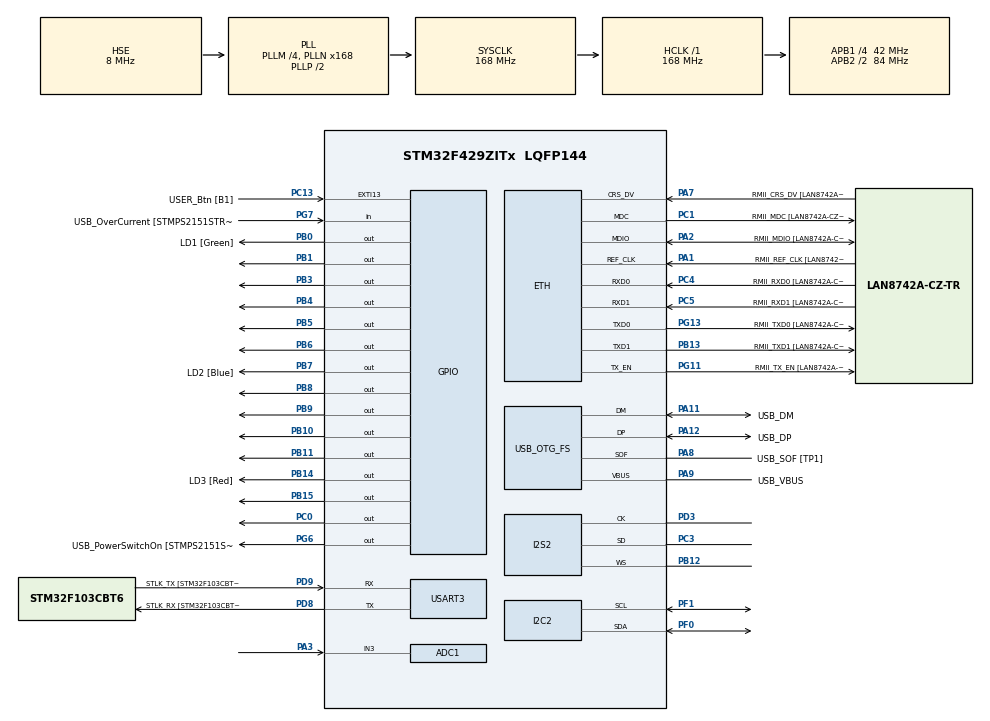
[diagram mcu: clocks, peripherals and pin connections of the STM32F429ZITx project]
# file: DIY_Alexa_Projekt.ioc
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ADC1.Channel-1\#ChannelRegularConversion=ADC_CHANNEL_3
ADC1.NbrOfConversionFlag=1
ADC1.Rank-1\#ChannelRegularConversion=1
ADC1.SamplingTime-1\#ChannelRegularConversion=ADC_SAMPLETIME_3CYCLES
ADC1.master=1
Dma.Request0=SPI2_RX
Dma.SPI2_RX.0.Direction=DMA_PERIPH_TO_MEMORY
Dma.SPI2_RX.0.FIFOMode=DMA_FIFOMODE_DISABLE
Dma.SPI2_RX.0.Instance=DMA1_Stream3
Dma.SPI2_RX.0.MemDataAlignment=DMA_MDATAALIGN_HALFWORD
Dma.SPI2_RX.0.MemInc=DMA_MINC_ENABLE
Dma.SPI2_RX.0.Mode=DMA_CIRCULAR
Dma.SPI2_RX.0.PeriphDataAlignment=DMA_PDATAALIGN_HALFWORD
Dma.SPI2_RX.0.PeriphInc=DMA_PINC_DISABLE
Dma.SPI2_RX.0.Priority=DMA_PRIORITY_HIGH
ETH.MediaInterface=HAL_ETH_RMII_MODE
ETH.PHY_Name=LAN8742A_PHY_ADDRESS
ETH.PHY_Value=0
ETH.PhyAddress=0
I2S2.AudioFreq=I2S_AUDIOFREQ_16K
I2S2.DataFormat=I2S_DATAFORMAT_24B
I2S2.ErrorAudioFreq=-0.26 %
I2S2.FullDuplexMode=I2S_FULLDUPLEXMODE_DISABLE
I2S2.Instance=SPI$Index
I2S2.Mode=I2S_MODE_MASTER_RX
I2S2.RealAudioFreq=15.957 KHz
I2S2.VirtualMode=I2S_MODE_MASTER
Mcu.Family=STM32F4
Mcu.Name=STM32F429ZITx
Mcu.Package=LQFP144
NVIC.DMA1_Stream3_IRQn=true\:0\:0\:false\:false\:true\:false\:true\:true
NVIC.PriorityGroup=NVIC_PRIORITYGROUP_4
PA1.GPIO_Label=RMII_REF_CLK [LAN8742A-CZ-TR_REFCLK0]
PA1.Mode=RMII
PA1.Signal=ETH_REF_CLK
PA10.GPIO_Label=USB_ID
PA10.Signal=USB_OTG_FS_ID
PA11.GPIO_Label=USB_DM
PA11.Mode=Device_Only
PA11.Signal=USB_OTG_FS_DM
PA12.GPIO_Label=USB_DP
PA12.Mode=Device_Only
PA12.Signal=USB_OTG_FS_DP
PA13.GPIO_Label=TMS
PA13.Mode=Serial_Wire
PA13.Signal=SYS_JTMS-SWDIO
PA14.GPIO_Label=TCK
PA14.Mode=Serial_Wire
PA14.Signal=SYS_JTCK-SWCLK
PA2.GPIO_Label=RMII_MDIO [LAN8742A-CZ-TR_MDIO]
PA2.Mode=RMII
PA2.Signal=ETH_MDIO
PA3.Signal=ADCx_IN3
PA7.GPIO_Label=RMII_CRS_DV [LAN8742A-CZ-TR_CRS_DV]
PA7.Mode=RMII
PA7.Signal=ETH_CRS_DV
PA8.GPIO_Label=USB_SOF [TP1]
PA8.Mode=Activate_SOF_FS
PA8.Signal=USB_OTG_FS_SOF
PA9.GPIO_Label=USB_VBUS
PA9.Mode=Activate_VBUS
PA9.Signal=USB_OTG_FS_VBUS
PB0.GPIO_Label=LD1 [Green]
PB0.Signal=GPIO_Output
PB1.Signal=GPIO_Output
PB10.Signal=GPIO_Output
PB11.Signal=GPIO_Output
PB12.Mode=Half_Duplex_Master
PB12.Signal=I2S2_WS
PB13.GPIO_Label=RMII_TXD1 [LAN8742A-CZ-TR_TXD1]
PB13.Mode=RMII
PB13.Signal=ETH_TXD1
PB14.GPIO_Label=LD3 [Red]
PB14.Signal=GPIO_Output
PB15.Signal=GPIO_Output
PB3.Signal=GPIO_Output
PB4.Signal=GPIO_Output
PB5.Signal=GPIO_Output
PB6.Signal=GPIO_Output
PB7.GPIO_Label=LD2 [Blue]
PB7.Signal=GPIO_Output
PB8.Signal=GPIO_Output
PB9.Signal=GPIO_Output
PC0.Signal=GPIO_Output
PC1.GPIO_Label=RMII_MDC [LAN8742A-CZ-TR_MDC]
PC1.Mode=RMII
PC1.Signal=ETH_MDC
PC13.GPIO_Label=USER_Btn [B1]
PC13.Signal=GPXTI13
PC14/OSC32_IN.Mode=LSE-External-Oscillator
PC14/OSC32_IN.Signal=RCC_OSC32_IN
PC15/OSC32_OUT.Mode=LSE-External-Oscillator
PC15/OSC32_OUT.Signal=RCC_OSC32_OUT
PC3.Mode=Half_Duplex_Master
PC3.Signal=I2S2_SD
PC4.GPIO_Label=RMII_RXD0 [LAN8742A-CZ-TR_RXD0]
PC4.Mode=RMII
PC4.Signal=ETH_RXD0
PC5.GPIO_Label=RMII_RXD1 [LAN8742A-CZ-TR_RXD1]
PC5.Mode=RMII
PC5.Signal=ETH_RXD1
PD3.Mode=Half_Duplex_Master
PD3.Signal=I2S2_CK
PD8.GPIO_Label=STLK_RX [STM32F103CBT6_PA3]
PD8.Mode=Asynchronous
PD8.Signal=USART3_TX
PD9.GPIO_Label=STLK_TX [STM32F103CBT6_PA2]
PD9.Mode=Asynchronous
PD9.Signal=USART3_RX
PF0.Mode=I2C
PF0.Signal=I2C2_SDA
PF1.Mode=I2C
PF1.Signal=I2C2_SCL
PG11.GPIO_Label=RMII_TX_EN [LAN8742A-CZ-TR_TXEN]
PG11.Mode=RMII
PG11.Signal=ETH_TX_EN
PG13.GPIO_Label=RMII_TXD0 [LAN8742A-CZ-TR_TXD0]
PG13.Mode=RMII
PG13.Signal=ETH_TXD0
PG6.GPIO_Label=USB_PowerSwitchOn [STMPS2151STR_EN]
PG6.Signal=GPIO_Output
PG7.GPIO_Label=USB_OverCurrent [STMPS2151STR_FAULT]
PG7.Signal=GPIO_Input
PH0/OSC_IN.GPIO_Label=MCO [STM32F103CBT6_PA8]
PH0/OSC_IN.Mode=HSE-External-Clock-Source
PH0/OSC_IN.Signal=RCC_OSC_IN
PH1/OSC_OUT.Mode=HSE-External-Clock-Source
PH1/OSC_OUT.Signal=RCC_OSC_OUT
ProjectManager.HeapSize=0x200
ProjectManager.StackSize=0x400
ProjectManager.TargetToolchain=STM32CubeIDE
RCC.48MHZClocksFreq_Value=48000000
RCC.AHBFreq_Value=168000000
RCC.APB1CLKDivider=RCC_HCLK_DIV4
RCC.APB1Freq_Value=42000000
RCC.APB1TimFreq_Value=84000000
RCC.APB2CLKDivider=RCC_HCLK_DIV2
RCC.APB2Freq_Value=84000000
RCC.APB2TimCLKDivider=2
RCC.APB2TimFreq_Value=168000000
RCC.CortexFreq_Value=168000000
RCC.HCLKFreq_Value=168000000
RCC.HSE_VALUE=8000000
RCC.HSI_VALUE=16000000
RCC.PLLM=4
RCC.PLLMUL=RCC_PLL_MUL9
RCC.PLLN=168
RCC.PLLQ=7
RCC.PRESCALERUSB=RCC_USBCLKSOURCE_PLL_DIV1_5
RCC.SYSCLKFreq_VALUE=168000000
RCC.SYSCLKSource=RCC_SYSCLKSOURCE_PLLCLK
RCC.SYSCLKSourceVirtual=RCC_SYSCLKSOURCE_PLLCLK
RCC.USBFreq_Value=48000000
RCC.VCOOutputFreq_Value=336000000
SH.ADCx_IN3.0=ADC1_IN3,IN3
STMicroelectronics.X-CUBE-AI.10.2.0.ActivationBufferSizeList=25044
STMicroelectronics.X-CUBE-AI.10.2.0.ActivationBuffers=pool0
STMicroelectronics.X-CUBE-AI.10.2.0.ActivationNames=pool0
STMicroelectronics.X-CUBE-AI.10.2.0.ActivationSizes=AI_NETWORK_DATA_ACTIVATION_1_SIZE
STMicroelectronics.X-CUBE-AI.10.2.0.HeapSize=0x800
STMicroelectronics.X-CUBE-AI.10.2.0.InternalRamActivationBufferMaxSize=AI_NETWORK_DATA_ACTIVATIONS_SIZE
STMicroelectronics.X-CUBE-AI.10.2.0.LatestDirectoryUsed-2b359adb2642d0a81d189ea59473113be43297f8459c6ad786a0092559106a91=/home/daniel/Downloads
STMicroelectronics.X-CUBE-AI.10.2.0.MaximumNumberOfInputLayer=1
STMicroelectronics.X-CUBE-AI.10.2.0.MaximumNumberOfOutputLayer=1
STMicroelectronics.X-CUBE-AI.10.2.0.MaximumSizeOfInputLayer=1
STMicroelectronics.X-CUBE-AI.10.2.0.MaximumSizeOfOutputLayer=1
STMicroelectronics.X-CUBE-AI.10.2.0.ModelActualCompression-2b359adb2642d0a81d189ea59473113be43297f8459c6ad786a0092559106a91=0.0
STMicroelectronics.X-CUBE-AI.10.2.0.ModelCompression-2b359adb2642d0a81d189ea59473113be43297f8459c6ad786a0092559106a91=None
STMicroelectronics.X-CUBE-AI.10.2.0.ModelFlashOccupation-2b359adb2642d0a81d189ea59473113be43297f8459c6ad786a0092559106a91=40996
STMicroelectronics.X-CUBE-AI.10.2.0.ModelHashList=2b359adb2642d0a81d189ea59473113be43297f8459c6ad786a0092559106a91
STMicroelectronics.X-CUBE-AI.10.2.0.ModelKind-2b359adb2642d0a81d189ea59473113be43297f8459c6ad786a0092559106a91=TFLITE
STMicroelectronics.X-CUBE-AI.10.2.0.ModelMacc-2b359adb2642d0a81d189ea59473113be43297f8459c6ad786a0092559106a91=251990
STMicroelectronics.X-CUBE-AI.10.2.0.ModelName-2b359adb2642d0a81d189ea59473113be43297f8459c6ad786a0092559106a91=network
STMicroelectronics.X-CUBE-AI.10.2.0.ModelNameList=network
STMicroelectronics.X-CUBE-AI.10.2.0.ModelRamOccupation-2b359adb2642d0a81d189ea59473113be43297f8459c6ad786a0092559106a91=25044
STMicroelectronics.X-CUBE-AI.10.2.0.ModelStructureFile-2b359adb2642d0a81d189ea59473113be43297f8459c6ad786a0092559106a91=/home/daniel/Downloads/kws_model.tflite
STMicroelectronics.X-CUBE-AI.10.2.0.ModelType-2b359adb2642d0a81d189ea59473113be43297f8459c6ad786a0092559106a91=STM32Cube.AI MCU runtime
STMicroelectronics.X-CUBE-AI.10.2.0.ReadyForCodeGeneration=true
STMicroelectronics.X-CUBE-AI.10.2.0.StackSize=0x800
STMicroelectronics.X-CUBE-AI.10.2.0.WorkingBufferStartAddrList=0xFFFFFFFF
STMicroelectronics.X-CUBE-AI.10.2.0.XAaCUBEAaAICcArtificialOoIntelligenceJjCore=true
STMicroelectronics.X-CUBE-AI.10.2.0.copyWeightToRam=false
STMicroelectronics.X-CUBE-AI.10.2.0.copyWeightToRam-2b359adb2642d0a81d189ea59473113be43297f8459c6ad786a0092559106a91=false
STMicroelectronics.X-CUBE-AI.10.2.0.customLayerConfigEnabled=false
STMicroelectronics.X-CUBE-AI.10.2.0.customLayerConfigEnabled-2b359adb2642d0a81d189ea59473113be43297f8459c6ad786a0092559106a91=false
STMicroelectronics.X-CUBE-AI.10.2.0.noOnnxIoTranspose=false
STMicroelectronics.X-CUBE-AI.10.2.0.noOnnxIoTranspose-2b359adb2642d0a81d189ea59473113be43297f8459c6ad786a0092559106a91=false
STMicroelectronics.X-CUBE-AI.10.2.0.outputDirectory=/home/daniel/.stm32cubemx/network_output
STMicroelectronics.X-CUBE-AI.10.2.0.useInputAllocation=true
STMicroelectronics.X-CUBE-AI.10.2.0.useInputAllocation-2b359adb2642d0a81d189ea59473113be43297f8459c6ad786a0092559106a91=true
STMicroelectronics.X-CUBE-AI.10.2.0.useOutputAllocation=true
STMicroelectronics.X-CUBE-AI.10.2.0.useOutputAllocation-2b359adb2642d0a81d189ea59473113be43297f8459c6ad786a0092559106a91=true
TIM2.Period=65535
TIM2.Prescaler=83
USART3.VirtualMode=VM_ASYNC
USB_OTG_FS.VirtualMode=Device_Only
VP_STMicroelectronics.X-CUBE-AI_VS_ArtificialOoIntelligenceJjXAaCUBEAaAI_10.2.0.Mode=ArtificialOoIntelligenceJjXAaCUBEAaAI
VP_TIM2_VS_ClockSourceINT.Mode=Internal
board=NUCLEO-F429ZI

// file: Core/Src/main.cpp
/* USER CODE BEGIN Header */
/**
  ******************************************************************************
  * @file           : main.c
  * @brief          : Main program body
  ******************************************************************************
  * @attention
  *
  * Copyright (c) 2025 STMicroelectronics.
  * All rights reserved.
  *
  * This software is licensed under terms that can be found in the LICENSE file
  * in the root directory of this software component.
  * If no LICENSE file comes with this software, it is provided AS-IS.
  *
  ******************************************************************************
  */
/* USER CODE END Header */
#include "main.h"
#include "string.h"

/* USER CODE BEGIN Includes */
#include <stdio.h>
#include <math.h>
#include <iostream>
#include <limits>
#include "lcd.h"
#include "LEDArray.h"
#include "funkSteckdose.h"
#include "mfcc.h"
#include "kws.h"
#include "arm_math.h"

//konstanten
const int I2S_BUF_SIZE = 1000;
const int totalBuffer = 16000;
#define MFCC_IN_SIZE 800
#define MFCC_STEP_SIZE 320
#define MFCC_OUT_SIZE 10
#define PRERECORD 4000

//optimization variables (ms)
#define CLAPTHRESHHOLD 70000
#define SPEECHTHRESHHOLD 15000
#define LISTEN_TIMEOUT_MS  60000
#define Clap_Cooldown 500

volatile uint32_t clapTime=0;
volatile uint8_t audioReady = 0;
volatile uint8_t audioHalf = 0;
volatile uint8_t isRecording=0;
volatile uint8_t isFinished=0;
volatile uint16_t recordIndex=0;
volatile uint16_t preBufferIndex=0;
volatile int32_t dc = 0;              // for dc offset
int recordStart;
int duration;
int value;
float mfccOut[MFCC_OUT_SIZE]; // result after typecast
bool lockForever=0;
bool isOn=0;
//arrays
uint16_t inputBuffer[I2S_BUF_SIZE*2]; // merge 2 consecutive values
int32_t mergedFrame[I2S_BUF_SIZE/4]; // Why divide by 4?
int32_t testbuffer[totalBuffer];
int32_t preBuffer[PRERECORD];

uint16_t pins[]={
		GPIO_PIN_15,GPIO_PIN_11,GPIO_PIN_10,GPIO_PIN_9,GPIO_PIN_8,GPIO_PIN_6,GPIO_PIN_5,GPIO_PIN_4,GPIO_PIN_3,GPIO_PIN_1,

};

//objekte

LEDArray bar(GPIOB,pins,10);
MFCC* mfcc = new MFCC(MFCC_OUT_SIZE, MFCC_IN_SIZE, 2);
KWS* kws=new KWS();

LCD_HandleTypeDef Display;

typedef enum {
    STATE_IDLE,
    STATE_LISTENING
} system_state_t;

system_state_t systemState = STATE_IDLE;
/* USER CODE END Includes */

ETH_TxPacketConfig TxConfig;
ETH_DMADescTypeDef  DMARxDscrTab[ETH_RX_DESC_CNT]; /* Ethernet Rx DMA Descriptors */
ETH_DMADescTypeDef  DMATxDscrTab[ETH_TX_DESC_CNT]; /* Ethernet Tx DMA Descriptors */

ADC_HandleTypeDef hadc1;

ETH_HandleTypeDef heth;

I2C_HandleTypeDef hi2c2;

I2S_HandleTypeDef hi2s2;
DMA_HandleTypeDef hdma_spi2_rx;

TIM_HandleTypeDef htim2;

UART_HandleTypeDef huart3;

PCD_HandleTypeDef hpcd_USB_OTG_FS;

void SystemClock_Config(void);
static void MX_GPIO_Init(void);
static void MX_DMA_Init(void);
static void MX_ETH_Init(void);
static void MX_USART3_UART_Init(void);
static void MX_USB_OTG_FS_PCD_Init(void);
static void MX_ADC1_Init(void);
static void MX_TIM2_Init(void);
static void MX_I2S2_Init(void);
static void MX_I2C2_Init(void);

/* USER CODE BEGIN 0 */

void testLEDBarWithPot(){

HAL_ADC_Start(&hadc1);
HAL_ADC_PollForConversion(&hadc1, HAL_MAX_DELAY);//wait
 value = HAL_ADC_GetValue(&hadc1);//0-->4000  400*10

bar.setnleds(round(value/400));

//bar.restleds();

HAL_Delay(100);

}
void SteckdoseEin(){
	funkSteckdose Steckdose(htim2);
//	for (int i = 0; i < 50; ++i){
Steckdose.ein();
//HAL_Delay(10);
//}
}
void SteckdoseAus(){
	funkSteckdose Steckdose(htim2);

Steckdose.aus();

}
void processHalfBuffer(uint16_t* buf)
{
    for (int i = 0; i < I2S_BUF_SIZE/4; ++i) {

        uint32_t hi = buf[4*i];
        uint32_t lo = buf[4*i + 1];

        uint32_t raw = (hi << 16) | lo;
        int32_t temp = (int32_t)raw;
        int32_t pcm = temp >> 14;

        mergedFrame[i] = pcm; // oder mergedFrame[offset + i] bei Streaming
        //prebuffer wird immer aufgenommen (kein uberschreitung nötig)
        preBuffer[preBufferIndex] = pcm;
        preBufferIndex++;
        if (preBufferIndex >= 4000) {
            preBufferIndex = 0;
        }
        if (isRecording && recordIndex < 16000) {
        	testbuffer[recordIndex++] = pcm;

            if (recordIndex >= 16000) {
                isRecording = 0;   // Aufnahme beenden
                isFinished  = 1;
            }
        }
    }
}

void HAL_I2S_RxHalfCpltCallback(I2S_HandleTypeDef *hi2s){
	if(hi2s->Instance==SPI2){
		audioHalf = 1;
        processHalfBuffer(&inputBuffer[0]);

	}

}

void HAL_I2S_RxCpltCallback(I2S_HandleTypeDef *hi2s){
	if(hi2s->Instance==SPI2){
		audioReady=1;
        processHalfBuffer(&inputBuffer[I2S_BUF_SIZE]);

	}
	//value = HAL_GetTick();
}

int extract_features(){

	//filling of mMFCC
	  char msg[64];

	float mfccInputFrame[MFCC_IN_SIZE]; // input frame of mfcc
	q7_t mfccOutTmp[MFCC_OUT_SIZE]; // result of mfcc
	int feature_counter = 0;
	for (int i = 0; i <= 16000-800; i+=MFCC_STEP_SIZE, // problem !!!!!
	feature_counter++) {
	for (int j = 0; j < MFCC_IN_SIZE; j++) {

	mfccInputFrame[j] = (float) testbuffer[i+j];
	//printf("%f, ", mfccInputFrame[j]);

	}
	mfcc->mfcc_compute(mfccInputFrame, mfccOutTmp);

	for (int k = 0; k < MFCC_OUT_SIZE; k++) {

	kws->mMFCC[feature_counter][k] = (ai_float) mfccOutTmp[k];// !!!! PREPARE MFCC VALUES AS INPUT FOR NN
	}
	if (feature_counter >= 47) break;
	}

	//neural network

	int wordIndex=kws->runInference(1);
	std::string Word=kws->indexToWord(wordIndex);
//	printf("Ergebnis wort: %s \r\n",Word.c_str()); //cant use normal cpp strings in c so (to_cstr)
	snprintf(msg, sizeof(msg), "Ergebnis: %s\r\n", Word.c_str());

	HAL_UART_Transmit(&huart3, (uint8_t*)msg, strlen(msg), HAL_MAX_DELAY);

	return wordIndex;
}
/* USER CODE END 0 */

int main(void)
{

  /* MCU Configuration--------------------------------------------------------*/

  /* Reset of all peripherals, Initializes the Flash interface and the Systick. */
  HAL_Init();

  /* Configure the system clock */
  SystemClock_Config();

  /* Initialize all configured peripherals */
  MX_GPIO_Init();
  MX_DMA_Init();
  MX_ETH_Init();
  MX_USART3_UART_Init();
  MX_USB_OTG_FS_PCD_Init();
  MX_ADC1_Init();
  MX_TIM2_Init();
  MX_I2S2_Init();
  MX_I2C2_Init();
  /* USER CODE BEGIN 2 */

//initialize disp
  Display.i2c_addr= (0x27<<1);
  Display.i2c=&hi2c2;//benutze i2c2
  Display.backlight_enable=1;
  LCD_Begin(&Display);
  LCD_SetCursor(&Display, 1, 1);

	  //SteckdoseAus();
	  HAL_I2S_Receive_DMA(&hi2s2, &inputBuffer[0], I2S_BUF_SIZE);
	  while (!audioReady) {

	  }
	  int16_t minVal = 32767;
	  int16_t maxVal = -32768;

	  for (int i = 0; i < I2S_BUF_SIZE; ++i) {
	      if (inputBuffer[i] < minVal) minVal = inputBuffer[i];
	      if (inputBuffer[i] > maxVal) maxVal = inputBuffer[i];
	  }

  /* USER CODE END 2 */

  /* Infinite loop */
  /* USER CODE BEGIN WHILE */
  while (1)
  {

	  char msg[64];

	  int32_t minVal =  std::numeric_limits<int>::max();
	  int32_t maxVal = std::numeric_limits<int>::min();
	  int32_t peak;
	  for (int i = 0; i < I2S_BUF_SIZE/4; ++i)
	  {
	      int32_t v = mergedFrame[i];
	      if (v < minVal) minVal = v;
	      if (v > maxVal) maxVal = v;

	  }

	  peak = maxVal - minVal; //amplitude

	  if (peak < 0) peak = 0;

//	  if (peak > 50000) {
//		  peak = 50000;
//
//
//	  } //can be optimized

	  int leds = round( peak / 5000);             // 0…10 LEDs   1500

	  bar.setnleds(leds);
	  if (systemState == STATE_IDLE && !lockForever) {

	      if (peak > CLAPTHRESHHOLD) {

	          systemState = STATE_LISTENING;
	          clapTime=HAL_GetTick();
	          LCD_Print(&Display, "Listening...");

			   	HAL_UART_Transmit(&huart3, (uint8_t*)("CLap \r\n"), strlen("CLAP \r\n"), HAL_MAX_DELAY);
	      }
	  }
	  //aufnahme test
if(systemState==STATE_LISTENING){

if(!isRecording && peak >SPEECHTHRESHHOLD&&(HAL_GetTick()-clapTime)>Clap_Cooldown){//two gets recognized immediately after clap
		  recordStart = HAL_GetTick(); //start time
		  snprintf(msg, sizeof(msg), "aufnahme begiinnt...%d",1);

		 	  HAL_UART_Transmit(&huart3,(uint8_t*)msg , strlen(msg), HAL_MAX_DELAY);
		 	  uint16_t lastSample=preBufferIndex; //3998,3999,0,1,2....3997 (last 4000)
		 	  for(int i=0; i<PRERECORD;i++){
		 		  testbuffer[i]=preBuffer[lastSample];
		 		  lastSample++;
		 		  if(lastSample>=PRERECORD){
		 			  lastSample=0;
		 		  }
		 	  }
		 	  recordIndex=PRERECORD;
		 	    isFinished  = 0;
		 	    isRecording = 1;
}

//hrrhrhhr
	  if(isFinished){
		  isFinished=0;
		   duration = HAL_GetTick()-recordStart;
		   snprintf(msg, sizeof(msg), "duration: %ld \r\n", duration);
		   	  HAL_UART_Transmit(&huart3, (uint8_t*)msg, strlen(msg), HAL_MAX_DELAY);

		   	HAL_UART_Transmit(&huart3, (uint8_t*)("Feature extraction started\r\n"), strlen("Feature extraction started\r\n"), HAL_MAX_DELAY);
		   	  int wordIdx=extract_features();

		   HAL_UART_Transmit(&huart3, (uint8_t*)("Feature extraction ended\r\n"), strlen("Feature extraction ended\r\n"), HAL_MAX_DELAY);
		   	  if(wordIdx ==2){//on
				   HAL_UART_Transmit(&huart3, (uint8_t*)("your mom gay"), strlen("your mom gay"), HAL_MAX_DELAY);

		   		LCD_Clear(&Display);
		   		LCD_Print(&Display, "1. Forever");
		   		LCD_SetCursor(&Display, 1, 0);
		   		LCD_Print(&Display, "2. 10 min");
		   		isOn=true;

		   	  }
		   	  else if(wordIdx==3){//off
		   		  SteckdoseAus();
		   	  }
		   	  else if(wordIdx==4 && isOn){
		   		LCD_Clear(&Display);
		   		LCD_Print(&Display, "1. Forever");
		   		SteckdoseEin();
		   		lockForever=1;
		   		systemState=STATE_IDLE;//konnte problematisch sein

		   	  }
		   	  else if(wordIdx==5 && isOn){
		   		LCD_Clear(&Display);
		   	    LCD_Print(&Display, "2. 10 min");
		   	    HAL_Delay(60000);
		   	    SteckdoseAus();
		   	  }
	  }

}

    /* USER CODE END WHILE */

  }
}

void SystemClock_Config(void)
{
  RCC_OscInitTypeDef RCC_OscInitStruct = {0};
  RCC_ClkInitTypeDef RCC_ClkInitStruct = {0};

  /** Configure the main internal regulator output voltage
  */
  __HAL_RCC_PWR_CLK_ENABLE();
  __HAL_PWR_VOLTAGESCALING_CONFIG(PWR_REGULATOR_VOLTAGE_SCALE1);

  /** Initializes the RCC Oscillators according to the specified parameters
  * in the RCC_OscInitTypeDef structure.
  */
  RCC_OscInitStruct.OscillatorType = RCC_OSCILLATORTYPE_HSE;
  RCC_OscInitStruct.HSEState = RCC_HSE_BYPASS;
  RCC_OscInitStruct.PLL.PLLState = RCC_PLL_ON;
  RCC_OscInitStruct.PLL.PLLSource = RCC_PLLSOURCE_HSE;
  RCC_OscInitStruct.PLL.PLLM = 4;
  RCC_OscInitStruct.PLL.PLLN = 168;
  RCC_OscInitStruct.PLL.PLLP = RCC_PLLP_DIV2;
  RCC_OscInitStruct.PLL.PLLQ = 7;
  if (HAL_RCC_OscConfig(&RCC_OscInitStruct) != HAL_OK)
  {
    Error_Handler();
  }

  /** Initializes the CPU, AHB and APB buses clocks
  */
  RCC_ClkInitStruct.ClockType = RCC_CLOCKTYPE_HCLK|RCC_CLOCKTYPE_SYSCLK
                              |RCC_CLOCKTYPE_PCLK1|RCC_CLOCKTYPE_PCLK2;
  RCC_ClkInitStruct.SYSCLKSource = RCC_SYSCLKSOURCE_PLLCLK;
  RCC_ClkInitStruct.AHBCLKDivider = RCC_SYSCLK_DIV1;
  RCC_ClkInitStruct.APB1CLKDivider = RCC_HCLK_DIV4;
  RCC_ClkInitStruct.APB2CLKDivider = RCC_HCLK_DIV2;

  if (HAL_RCC_ClockConfig(&RCC_ClkInitStruct, FLASH_LATENCY_5) != HAL_OK)
  {
    Error_Handler();
  }
}

static void MX_ADC1_Init(void)
{

  ADC_ChannelConfTypeDef sConfig = {0};

  /** Configure the global features of the ADC (Clock, Resolution, Data Alignment and number of conversion)
  */
  hadc1.Instance = ADC1;
  hadc1.Init.ClockPrescaler = ADC_CLOCK_SYNC_PCLK_DIV4;
  hadc1.Init.Resolution = ADC_RESOLUTION_12B;
  hadc1.Init.ScanConvMode = DISABLE;
  hadc1.Init.ContinuousConvMode = DISABLE;
  hadc1.Init.DiscontinuousConvMode = DISABLE;
  hadc1.Init.ExternalTrigConvEdge = ADC_EXTERNALTRIGCONVEDGE_NONE;
  hadc1.Init.ExternalTrigConv = ADC_SOFTWARE_START;
  hadc1.Init.DataAlign = ADC_DATAALIGN_RIGHT;
  hadc1.Init.NbrOfConversion = 1;
  hadc1.Init.DMAContinuousRequests = DISABLE;
  hadc1.Init.EOCSelection = ADC_EOC_SINGLE_CONV;
  if (HAL_ADC_Init(&hadc1) != HAL_OK)
  {
    Error_Handler();
  }

  /** Configure for the selected ADC regular channel its corresponding rank in the sequencer and its sample time.
  */
  sConfig.Channel = ADC_CHANNEL_3;
  sConfig.Rank = 1;
  sConfig.SamplingTime = ADC_SAMPLETIME_3CYCLES;
  if (HAL_ADC_ConfigChannel(&hadc1, &sConfig) != HAL_OK)
  {
    Error_Handler();
  }

}

static void MX_ETH_Init(void)
{

   static uint8_t MACAddr[6];

  heth.Instance = ETH;
  MACAddr[0] = 0x00;
  MACAddr[1] = 0x80;
  MACAddr[2] = 0xE1;
  MACAddr[3] = 0x00;
  MACAddr[4] = 0x00;
  MACAddr[5] = 0x00;
  heth.Init.MACAddr = &MACAddr[0];
  heth.Init.MediaInterface = HAL_ETH_RMII_MODE;
  heth.Init.TxDesc = DMATxDscrTab;
  heth.Init.RxDesc = DMARxDscrTab;
  heth.Init.RxBuffLen = 1524;

  if (HAL_ETH_Init(&heth) != HAL_OK)
  {
    Error_Handler();
  }

  memset(&TxConfig, 0 , sizeof(ETH_TxPacketConfig));
  TxConfig.Attributes = ETH_TX_PACKETS_FEATURES_CSUM | ETH_TX_PACKETS_FEATURES_CRCPAD;
  TxConfig.ChecksumCtrl = ETH_CHECKSUM_IPHDR_PAYLOAD_INSERT_PHDR_CALC;
  TxConfig.CRCPadCtrl = ETH_CRC_PAD_INSERT;

}

static void MX_I2C2_Init(void)
{

  hi2c2.Instance = I2C2;
  hi2c2.Init.ClockSpeed = 100000;
  hi2c2.Init.DutyCycle = I2C_DUTYCYCLE_2;
  hi2c2.Init.OwnAddress1 = 0;
  hi2c2.Init.AddressingMode = I2C_ADDRESSINGMODE_7BIT;
  hi2c2.Init.DualAddressMode = I2C_DUALADDRESS_DISABLE;
  hi2c2.Init.OwnAddress2 = 0;
  hi2c2.Init.GeneralCallMode = I2C_GENERALCALL_DISABLE;
  hi2c2.Init.NoStretchMode = I2C_NOSTRETCH_DISABLE;
  if (HAL_I2C_Init(&hi2c2) != HAL_OK)
  {
    Error_Handler();
  }

  /** Configure Analogue filter
  */
  if (HAL_I2CEx_ConfigAnalogFilter(&hi2c2, I2C_ANALOGFILTER_ENABLE) != HAL_OK)
  {
    Error_Handler();
  }

  /** Configure Digital filter
  */
  if (HAL_I2CEx_ConfigDigitalFilter(&hi2c2, 0) != HAL_OK)
  {
    Error_Handler();
  }

}

static void MX_I2S2_Init(void)
{

  hi2s2.Instance = SPI2;
  hi2s2.Init.Mode = I2S_MODE_MASTER_RX;
  hi2s2.Init.Standard = I2S_STANDARD_PHILIPS;
  hi2s2.Init.DataFormat = I2S_DATAFORMAT_24B;
  hi2s2.Init.MCLKOutput = I2S_MCLKOUTPUT_DISABLE;
  hi2s2.Init.AudioFreq = I2S_AUDIOFREQ_16K;
  hi2s2.Init.CPOL = I2S_CPOL_LOW;
  hi2s2.Init.ClockSource = I2S_CLOCK_PLL;
  hi2s2.Init.FullDuplexMode = I2S_FULLDUPLEXMODE_DISABLE;
  if (HAL_I2S_Init(&hi2s2) != HAL_OK)
  {
    Error_Handler();
  }

}

static void MX_TIM2_Init(void)
{

  TIM_ClockConfigTypeDef sClockSourceConfig = {0};
  TIM_MasterConfigTypeDef sMasterConfig = {0};

  htim2.Instance = TIM2;
  htim2.Init.Prescaler = 83;
  htim2.Init.CounterMode = TIM_COUNTERMODE_UP;
  htim2.Init.Period = 65535;
  htim2.Init.ClockDivision = TIM_CLOCKDIVISION_DIV1;
  htim2.Init.AutoReloadPreload = TIM_AUTORELOAD_PRELOAD_DISABLE;
  if (HAL_TIM_Base_Init(&htim2) != HAL_OK)
  {
    Error_Handler();
  }
  sClockSourceConfig.ClockSource = TIM_CLOCKSOURCE_INTERNAL;
  if (HAL_TIM_ConfigClockSource(&htim2, &sClockSourceConfig) != HAL_OK)
  {
    Error_Handler();
  }
  sMasterConfig.MasterOutputTrigger = TIM_TRGO_RESET;
  sMasterConfig.MasterSlaveMode = TIM_MASTERSLAVEMODE_DISABLE;
  if (HAL_TIMEx_MasterConfigSynchronization(&htim2, &sMasterConfig) != HAL_OK)
  {
    Error_Handler();
  }

}

static void MX_USART3_UART_Init(void)
{

  huart3.Instance = USART3;
  huart3.Init.BaudRate = 115200;
  huart3.Init.WordLength = UART_WORDLENGTH_8B;
  huart3.Init.StopBits = UART_STOPBITS_1;
  huart3.Init.Parity = UART_PARITY_NONE;
  huart3.Init.Mode = UART_MODE_TX_RX;
  huart3.Init.HwFlowCtl = UART_HWCONTROL_NONE;
  huart3.Init.OverSampling = UART_OVERSAMPLING_16;
  if (HAL_UART_Init(&huart3) != HAL_OK)
  {
    Error_Handler();
  }

}

static void MX_USB_OTG_FS_PCD_Init(void)
{

  hpcd_USB_OTG_FS.Instance = USB_OTG_FS;
  hpcd_USB_OTG_FS.Init.dev_endpoints = 4;
  hpcd_USB_OTG_FS.Init.speed = PCD_SPEED_FULL;
  hpcd_USB_OTG_FS.Init.dma_enable = DISABLE;
  hpcd_USB_OTG_FS.Init.phy_itface = PCD_PHY_EMBEDDED;
  hpcd_USB_OTG_FS.Init.Sof_enable = ENABLE;
  hpcd_USB_OTG_FS.Init.low_power_enable = DISABLE;
  hpcd_USB_OTG_FS.Init.lpm_enable = DISABLE;
  hpcd_USB_OTG_FS.Init.vbus_sensing_enable = ENABLE;
  hpcd_USB_OTG_FS.Init.use_dedicated_ep1 = DISABLE;
  if (HAL_PCD_Init(&hpcd_USB_OTG_FS) != HAL_OK)
  {
    Error_Handler();
  }

}

static void MX_DMA_Init(void)
{

  /* DMA controller clock enable */
  __HAL_RCC_DMA1_CLK_ENABLE();

  /* DMA interrupt init */
  /* DMA1_Stream3_IRQn interrupt configuration */
  HAL_NVIC_SetPriority(DMA1_Stream3_IRQn, 0, 0);
  HAL_NVIC_EnableIRQ(DMA1_Stream3_IRQn);

}

static void MX_GPIO_Init(void)
{
  GPIO_InitTypeDef GPIO_InitStruct = {0};

  /* GPIO Ports Clock Enable */
  __HAL_RCC_GPIOC_CLK_ENABLE();
  __HAL_RCC_GPIOF_CLK_ENABLE();
  __HAL_RCC_GPIOH_CLK_ENABLE();
  __HAL_RCC_GPIOA_CLK_ENABLE();
  __HAL_RCC_GPIOB_CLK_ENABLE();
  __HAL_RCC_GPIOD_CLK_ENABLE();
  __HAL_RCC_GPIOG_CLK_ENABLE();

  /*Configure GPIO pin Output Level */
  HAL_GPIO_WritePin(GPIOC, GPIO_PIN_0, GPIO_PIN_RESET);

  /*Configure GPIO pin Output Level */
  HAL_GPIO_WritePin(GPIOB, LD1_Pin|GPIO_PIN_1|GPIO_PIN_10|GPIO_PIN_11
                          |LD3_Pin|GPIO_PIN_15|GPIO_PIN_3|GPIO_PIN_4
                          |GPIO_PIN_5|GPIO_PIN_6|LD2_Pin|GPIO_PIN_8
                          |GPIO_PIN_9, GPIO_PIN_RESET);

  /*Configure GPIO pin Output Level */
  HAL_GPIO_WritePin(USB_PowerSwitchOn_GPIO_Port, USB_PowerSwitchOn_Pin, GPIO_PIN_RESET);

  /*Configure GPIO pin : USER_Btn_Pin */
  GPIO_InitStruct.Pin = USER_Btn_Pin;
  GPIO_InitStruct.Mode = GPIO_MODE_IT_RISING;
  GPIO_InitStruct.Pull = GPIO_NOPULL;
  HAL_GPIO_Init(USER_Btn_GPIO_Port, &GPIO_InitStruct);

  /*Configure GPIO pin : PC0 */
  GPIO_InitStruct.Pin = GPIO_PIN_0;
  GPIO_InitStruct.Mode = GPIO_MODE_OUTPUT_PP;
  GPIO_InitStruct.Pull = GPIO_NOPULL;
  GPIO_InitStruct.Speed = GPIO_SPEED_FREQ_LOW;
  HAL_GPIO_Init(GPIOC, &GPIO_InitStruct);

  /*Configure GPIO pins : LD1_Pin PB1 PB10 PB11
                           LD3_Pin PB15 PB3 PB4
                           PB5 PB6 LD2_Pin PB8
                           PB9 */
  GPIO_InitStruct.Pin = LD1_Pin|GPIO_PIN_1|GPIO_PIN_10|GPIO_PIN_11
                          |LD3_Pin|GPIO_PIN_15|GPIO_PIN_3|GPIO_PIN_4
                          |GPIO_PIN_5|GPIO_PIN_6|LD2_Pin|GPIO_PIN_8
                          |GPIO_PIN_9;
  GPIO_InitStruct.Mode = GPIO_MODE_OUTPUT_PP;
  GPIO_InitStruct.Pull = GPIO_NOPULL;
  GPIO_InitStruct.Speed = GPIO_SPEED_FREQ_LOW;
  HAL_GPIO_Init(GPIOB, &GPIO_InitStruct);

  /*Configure GPIO pin : USB_PowerSwitchOn_Pin */
  GPIO_InitStruct.Pin = USB_PowerSwitchOn_Pin;
  GPIO_InitStruct.Mode = GPIO_MODE_OUTPUT_PP;
  GPIO_InitStruct.Pull = GPIO_NOPULL;
  GPIO_InitStruct.Speed = GPIO_SPEED_FREQ_LOW;
  HAL_GPIO_Init(USB_PowerSwitchOn_GPIO_Port, &GPIO_InitStruct);

  /*Configure GPIO pin : USB_OverCurrent_Pin */
  GPIO_InitStruct.Pin = USB_OverCurrent_Pin;
  GPIO_InitStruct.Mode = GPIO_MODE_INPUT;
  GPIO_InitStruct.Pull = GPIO_NOPULL;
  HAL_GPIO_Init(USB_OverCurrent_GPIO_Port, &GPIO_InitStruct);

}

/* USER CODE BEGIN 4 */
int __io_putchar(int ch)
{
uint8_t c[1];
c[0] = ch & 0x00FF;
HAL_UART_Transmit(&huart3, &*c, 1, 10);
return ch;
}
int _write(int file, char *ptr, int len){
	int DataIdx;
	for(DataIdx = 0; DataIdx < len; DataIdx++)
	{
	__io_putchar(*ptr++);
	}
	return len;
	}
/* USER CODE END 4 */

void Error_Handler(void)
{
  __disable_irq();
  while (1)
  {
  }
}
